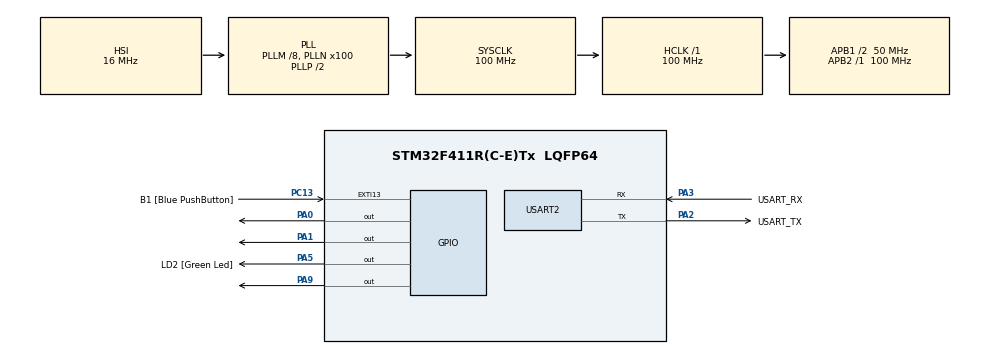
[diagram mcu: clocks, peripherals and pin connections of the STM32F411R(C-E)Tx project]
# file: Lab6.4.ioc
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FREERTOS.BinarySemaphores01=binSem,Dynamic,NULL
FREERTOS.Mutexes01=myMutex,Dynamic,NULL
FREERTOS.Queues01=myQueue,16,uint32_t,0,Dynamic,NULL,NULL
FREERTOS.Tasks01=defaultTask,0,128,StartDefaultTask,Default,NULL,Dynamic,NULL,NULL;task_1,-2,128,task_1_thread,Default,NULL,Dynamic,NULL,NULL;task_2,-2,128,task_2_thread,Default,NULL,Dynamic,NULL,NULL;task_3,-2,128,task_3_thread,Default,NULL,Dynamic,NULL,NULL
FREERTOS.Timers01=led_1,led_callback_1,osTimerPeriodic,Default,NULL,Dynamic,NULL;led_2,led_callback_2,osTimerPeriodic,Default,NULL,Dynamic,NULL;led_3,led_callback_3,osTimerPeriodic,Default,NULL,Dynamic,NULL;led_4,led_callback_4,osTimerPeriodic,Default,NULL,Dynamic,NULL
Mcu.Family=STM32F4
Mcu.Name=STM32F411R(C-E)Tx
Mcu.Package=LQFP64
NVIC.PriorityGroup=NVIC_PRIORITYGROUP_4
PA0-WKUP.Signal=GPIO_Output
PA1.Signal=GPIO_Output
PA13.GPIO_Label=TMS
PA13.Mode=Serial_Wire
PA13.Signal=SYS_JTMS-SWDIO
PA14.GPIO_Label=TCK
PA14.Mode=Serial_Wire
PA14.Signal=SYS_JTCK-SWCLK
PA2.GPIO_Label=USART_TX
PA2.Mode=Asynchronous
PA2.Signal=USART2_TX
PA3.GPIO_Label=USART_RX
PA3.Mode=Asynchronous
PA3.Signal=USART2_RX
PA5.GPIO_Label=LD2 [Green Led]
PA5.Signal=GPIO_Output
PA9.Signal=GPIO_Output
PB3.GPIO_Label=SWO
PB3.Signal=SYS_JTDO-SWO
PC13-ANTI_TAMP.GPIO_Label=B1 [Blue PushButton]
PC13-ANTI_TAMP.GPIO_ModeDefaultEXTI=GPIO_MODE_IT_FALLING
PC13-ANTI_TAMP.Signal=GPXTI13
PC14-OSC32_IN.Mode=LSE-External-Oscillator
PC14-OSC32_IN.Signal=RCC_OSC32_IN
PC15-OSC32_OUT.Mode=LSE-External-Oscillator
PC15-OSC32_OUT.Signal=RCC_OSC32_OUT
PH0\ -\ OSC_IN.Mode=HSE-External-Clock-Source
PH0\ -\ OSC_IN.Signal=RCC_OSC_IN
PH1\ -\ OSC_OUT.Mode=HSE-External-Clock-Source
PH1\ -\ OSC_OUT.Signal=RCC_OSC_OUT
ProjectManager.HeapSize=0x200
ProjectManager.StackSize=0x400
ProjectManager.TargetToolchain=STM32CubeIDE
RCC.48MHZClocksFreq_Value=50000000
RCC.AHBFreq_Value=100000000
RCC.APB1CLKDivider=RCC_HCLK_DIV2
RCC.APB1Freq_Value=50000000
RCC.APB1TimFreq_Value=100000000
RCC.APB2Freq_Value=100000000
RCC.APB2TimFreq_Value=100000000
RCC.CortexFreq_Value=100000000
RCC.FLatency-AdvancedSettings=FLASH_LATENCY_3
RCC.HCLKFreq_Value=100000000
RCC.HSE_VALUE=8000000
RCC.HSI_VALUE=16000000
RCC.PLLM=8
RCC.PLLN=100
RCC.SYSCLKFreq_VALUE=100000000
RCC.SYSCLKSource=RCC_SYSCLKSOURCE_PLLCLK
RCC.VCOOutputFreq_Value=200000000
USART2.VirtualMode=VM_ASYNC
VP_FREERTOS_VS_CMSIS_V1.Mode=CMSIS_V1
board=NUCLEO-F411RE

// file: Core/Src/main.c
/* USER CODE BEGIN Header */
/**
  ******************************************************************************
  * @file           : main.c
  * @brief          : Main program body
  ******************************************************************************
  * @attention
  *
  * Copyright (c) 2024 STMicroelectronics.
  * All rights reserved.
  *
  * This software is licensed under terms that can be found in the LICENSE file
  * in the root directory of this software component.
  * If no LICENSE file comes with this software, it is provided AS-IS.
  *
  ******************************************************************************
  */
/* USER CODE END Header */
#include "main.h"
#include "cmsis_os.h"

UART_HandleTypeDef huart2;

osThreadId defaultTaskHandle;
osThreadId task_1Handle;
osThreadId task_2Handle;
osThreadId task_3Handle;
osMessageQId myQueueHandle;
osMutexId myMutexHandle;
osSemaphoreId binSemHandle;

void SystemClock_Config(void);
static void MX_GPIO_Init(void);
static void MX_USART2_UART_Init(void);
void StartDefaultTask(void const * argument);
void task_1_thread(void const * argument);
void task_2_thread(void const * argument);
void task_3_thread(void const * argument);

int main(void)
{

  /* MCU Configuration--------------------------------------------------------*/

  /* Reset of all peripherals, Initializes the Flash interface and the Systick. */
  HAL_Init();

  /* Configure the system clock */
  SystemClock_Config();

  /* Initialize all configured peripherals */
  MX_GPIO_Init();
  MX_USART2_UART_Init();

  /* Create the mutex(es) */
  /* definition and creation of myMutex */
  osMutexDef(myMutex);
  myMutexHandle = osMutexCreate(osMutex(myMutex));

  /* Create the semaphores(s) */
  /* definition and creation of binSem */
  osSemaphoreDef(binSem);
  binSemHandle = osSemaphoreCreate(osSemaphore(binSem), 1);

  /* Create the queue(s) */
  /* definition and creation of myQueue */
  osMessageQDef(myQueue, 16, uint32_t);
  myQueueHandle = osMessageCreate(osMessageQ(myQueue), NULL);

  /* Create the thread(s) */
  /* definition and creation of defaultTask */
  osThreadDef(defaultTask, StartDefaultTask, osPriorityNormal, 0, 128);
  defaultTaskHandle = osThreadCreate(osThread(defaultTask), NULL);

  /* definition and creation of task_1 */
  osThreadDef(task_1, task_1_thread, osPriorityLow, 0, 128);
  task_1Handle = osThreadCreate(osThread(task_1), NULL);

  /* definition and creation of task_2 */
  osThreadDef(task_2, task_2_thread, osPriorityLow, 0, 128);
  task_2Handle = osThreadCreate(osThread(task_2), NULL);

  /* definition and creation of task_3 */
  osThreadDef(task_3, task_3_thread, osPriorityLow, 0, 128);
  task_3Handle = osThreadCreate(osThread(task_3), NULL);

  /* Start scheduler */
  osKernelStart();

  /* We should never get here as control is now taken by the scheduler */
  /* Infinite loop */
  while (1)
  {

  }
}

void SystemClock_Config(void)
{
  RCC_OscInitTypeDef RCC_OscInitStruct = {0};
  RCC_ClkInitTypeDef RCC_ClkInitStruct = {0};

  /** Configure the main internal regulator output voltage
  */
  __HAL_RCC_PWR_CLK_ENABLE();
  __HAL_PWR_VOLTAGESCALING_CONFIG(PWR_REGULATOR_VOLTAGE_SCALE1);

  /** Initializes the RCC Oscillators according to the specified parameters
  * in the RCC_OscInitTypeDef structure.
  */
  RCC_OscInitStruct.OscillatorType = RCC_OSCILLATORTYPE_HSI;
  RCC_OscInitStruct.HSIState = RCC_HSI_ON;
  RCC_OscInitStruct.HSICalibrationValue = RCC_HSICALIBRATION_DEFAULT;
  RCC_OscInitStruct.PLL.PLLState = RCC_PLL_ON;
  RCC_OscInitStruct.PLL.PLLSource = RCC_PLLSOURCE_HSI;
  RCC_OscInitStruct.PLL.PLLM = 8;
  RCC_OscInitStruct.PLL.PLLN = 100;
  RCC_OscInitStruct.PLL.PLLP = RCC_PLLP_DIV2;
  RCC_OscInitStruct.PLL.PLLQ = 4;
  if (HAL_RCC_OscConfig(&RCC_OscInitStruct) != HAL_OK)
  {
    Error_Handler();
  }

  /** Initializes the CPU, AHB and APB buses clocks
  */
  RCC_ClkInitStruct.ClockType = RCC_CLOCKTYPE_HCLK|RCC_CLOCKTYPE_SYSCLK
                              |RCC_CLOCKTYPE_PCLK1|RCC_CLOCKTYPE_PCLK2;
  RCC_ClkInitStruct.SYSCLKSource = RCC_SYSCLKSOURCE_PLLCLK;
  RCC_ClkInitStruct.AHBCLKDivider = RCC_SYSCLK_DIV1;
  RCC_ClkInitStruct.APB1CLKDivider = RCC_HCLK_DIV2;
  RCC_ClkInitStruct.APB2CLKDivider = RCC_HCLK_DIV1;

  if (HAL_RCC_ClockConfig(&RCC_ClkInitStruct, FLASH_LATENCY_3) != HAL_OK)
  {
    Error_Handler();
  }
}

static void MX_USART2_UART_Init(void)
{

  huart2.Instance = USART2;
  huart2.Init.BaudRate = 115200;
  huart2.Init.WordLength = UART_WORDLENGTH_8B;
  huart2.Init.StopBits = UART_STOPBITS_1;
  huart2.Init.Parity = UART_PARITY_NONE;
  huart2.Init.Mode = UART_MODE_TX_RX;
  huart2.Init.HwFlowCtl = UART_HWCONTROL_NONE;
  huart2.Init.OverSampling = UART_OVERSAMPLING_16;
  if (HAL_UART_Init(&huart2) != HAL_OK)
  {
    Error_Handler();
  }

}

static void MX_GPIO_Init(void)
{
  GPIO_InitTypeDef GPIO_InitStruct = {0};

  /* GPIO Ports Clock Enable */
  __HAL_RCC_GPIOC_CLK_ENABLE();
  __HAL_RCC_GPIOH_CLK_ENABLE();
  __HAL_RCC_GPIOA_CLK_ENABLE();
  __HAL_RCC_GPIOB_CLK_ENABLE();

  /*Configure GPIO pin Output Level */
  HAL_GPIO_WritePin(GPIOA, GPIO_PIN_0|GPIO_PIN_1|LD2_Pin|GPIO_PIN_9, GPIO_PIN_RESET);

  /*Configure GPIO pin : B1_Pin */
  GPIO_InitStruct.Pin = B1_Pin;
  GPIO_InitStruct.Mode = GPIO_MODE_IT_FALLING;
  GPIO_InitStruct.Pull = GPIO_NOPULL;
  HAL_GPIO_Init(B1_GPIO_Port, &GPIO_InitStruct);

  /*Configure GPIO pins : PA0 PA1 LD2_Pin PA9 */
  GPIO_InitStruct.Pin = GPIO_PIN_0|GPIO_PIN_1|LD2_Pin|GPIO_PIN_9;
  GPIO_InitStruct.Mode = GPIO_MODE_OUTPUT_PP;
  GPIO_InitStruct.Pull = GPIO_NOPULL;
  GPIO_InitStruct.Speed = GPIO_SPEED_FREQ_LOW;
  HAL_GPIO_Init(GPIOA, &GPIO_InitStruct);

}

void StartDefaultTask(void const * argument)
{
  for(;;)
  {
    osDelay(1);
  }
}

void task_1_thread(void const * argument)
{
  /* USER CODE BEGIN task_1_thread */
  /* Infinite loop */
  int threadID = 0; // threadID is 0 for one thread and 1 for another
  int idx = 0;
  char buffer[32];
  while(1) {
//	  osSemaphoreWait(binSemHandle, osWaitForever);

	  sprintf(buffer, "TID: %d %d\r\n", threadID, idx);
	  idx ++;
//	  HAL_UART_Transmit(&huart2, buffer, strlen(buffer), 1000);
//	  osMessageQId message = osMessageCreate(myQueueHandle, task_1Handle);
	  osMessagePut(myQueueHandle, buffer, osWaitForever);
	  osDelay(10);
//	  osSemaphoreRelease(binSemHandle);
  }
  /* USER CODE END task_1_thread */
}

void task_2_thread(void const * argument)
{
  /* USER CODE BEGIN task_2_thread */
  /* Infinite loop */
  int threadID = 1; // threadID is 0 for one thread and 1 for another
  int idx = 0;
  char buffer[32];
  while(1) {
//	  osSemaphoreWait(binSemHandle, osWaitForever);

	  sprintf(buffer, "TID: %d %d\r\n", threadID, idx);
	  idx ++;
//	  HAL_UART_Transmit(&huart2, buffer, strlen(buffer), 1000);
//	  osMessageQId message = osMessageCreate(myQueueHandle, task_2Handle);
	  osMessagePut(myQueueHandle, buffer, osWaitForever);
	  osDelay(10);

//	  osSemaphoreRelease(binSemHandle);
  }
  /* USER CODE END task_2_thread */
}

void task_3_thread(void const * argument)
{
  /* USER CODE BEGIN task_3_thread */
  /* Infinite loop */
	  char buffer[32];

  for(;;)
  {
//	  sprintf(buffer, "TID: hello\n");

//		HAL_UART_Transmit(&huart2, buffer, strlen(buffer), 1000);
	osEvent tmpEvent = osMessageGet(myQueueHandle, osWaitForever);
	if (tmpEvent.status == osEventMessage) {
		HAL_UART_Transmit(&huart2, tmpEvent.value.p, 32, 1000);
	}
    osDelay(10);
  }
  /* USER CODE END task_3_thread */
}

void Error_Handler(void)
{
  __disable_irq();
  while (1)
  {
  }
}
